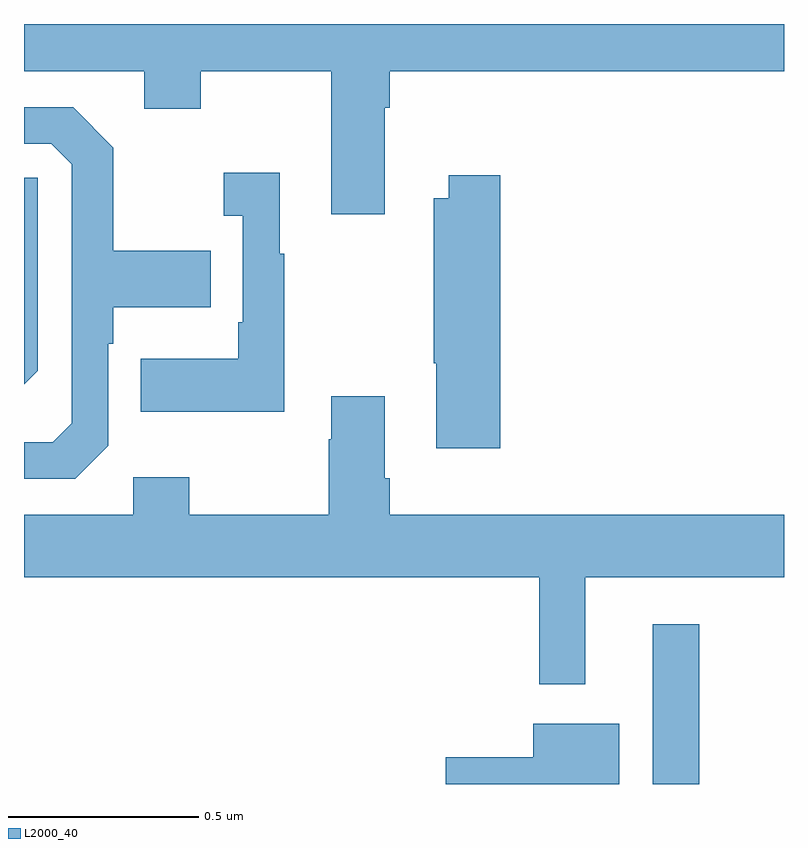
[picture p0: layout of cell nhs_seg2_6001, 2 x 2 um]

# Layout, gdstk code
import gdstk
lib = gdstk.Library(unit=1e-6, precision=1e-09)
def R(c, l, rs):  # rectangles x0, y0, x1, y1
    for r in rs: c.add(gdstk.rectangle(r[:2], r[2:], *l))
def P(c, l, *ps):  # polygons
    for p in ps: c.add(gdstk.Polygon(p, *l))
L2000_40 = (2000, 40)

nhs_seg2_6001 = lib.new_cell('nhs_seg2_6001')
R(nhs_seg2_6001, L2000_40, [(187.655,605.8,187.777,606.22)])
P(nhs_seg2_6001, L2000_40, [(186.949,607.58),(186.962,607.58),(186.962,607.676),(188,607.676),(188,607.8),(186,607.8),(186,607.676),(186.317,607.676),(186.317,607.577),(186.465,607.577),(186.465,607.676),(186.809,607.676),(186.809,607.299),(186.949,607.299)],
  [(186.222,606.69),(186.222,606.959),(186.235,606.959),(186.235,607.055),(186.491,607.055),(186.491,607.203),(186.235,607.203),(186.235,607.475),(186.129,607.581),(186,607.581),(186,607.485),(186.072,607.485),(186.126,607.431),(186.126,606.75),(186.075,606.699),(186,606.699),(186,606.603),(186.135,606.603)],
  [(186.685,607.195),(186.673,607.195),(186.673,607.408),(186.525,607.408),(186.525,607.295),(186.576,607.295),(186.576,607.015),(186.564,607.015),(186.564,606.919),(186.307,606.919),(186.307,606.779),(186.685,606.779)],
  [(187.253,607.402),(187.118,607.402),(187.118,607.342),(187.078,607.342),(187.078,606.907),(187.085,606.907),(187.085,606.684),(187.253,606.684)],
  [(186.036,606.888),(186.036,607.395),(186,607.395),(186,606.852)],
  [(187.477,606.344),(188,606.344),(188,606.508),(186.962,606.508),(186.962,606.604),(186.949,606.604),(186.949,606.82),(186.809,606.82),(186.809,606.707),(186.802,606.707),(186.802,606.508),(186.435,606.508),(186.435,606.607),(186.288,606.607),(186.288,606.508),(186,606.508),(186,606.344),(187.356,606.344),(187.356,606.063),(187.477,606.063)],
  [(187.567,605.959),(187.34,605.959),(187.34,605.871),(187.11,605.871),(187.11,605.8),(187.567,605.8)])

lib.write_gds('nhs_seg2_6001.gds')
